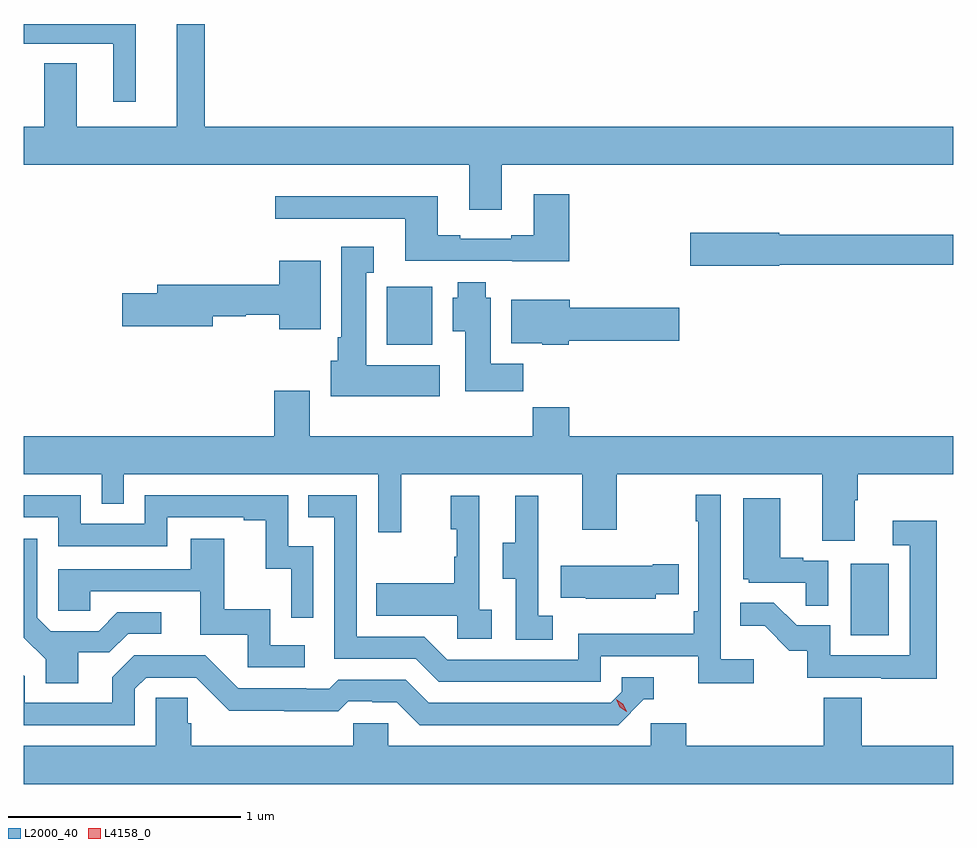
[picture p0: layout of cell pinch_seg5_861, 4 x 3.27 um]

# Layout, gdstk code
import gdstk
lib = gdstk.Library(unit=1e-6, precision=1e-09)
def R(c, l, rs):  # rectangles x0, y0, x1, y1
    for r in rs: c.add(gdstk.rectangle(r[:2], r[2:], *l))
def P(c, l, *ps):  # polygons
    for p in ps: c.add(gdstk.Polygon(p, *l))
L2000_40 = (2000, 40)
L4158_0 = (4158, 0)

pinch_seg5_861 = lib.new_cell('pinch_seg5_861')
R(pinch_seg5_861, L2000_40, [(829.808,880.044,829.972,880.351), (827.811,881.294,828.007,881.544)])
P(pinch_seg5_861, L2000_40, [(826.732,882.674),(826.249,882.674),(826.249,882.59),(826.634,882.59),(826.634,882.339),(826.732,882.339)],
  [(827.029,882.674),(826.907,882.674),(826.907,882.232),(826.477,882.232),(826.477,882.505),(826.337,882.505),(826.337,882.232),(826.249,882.232),(826.249,882.068),(828.167,882.068),(828.167,881.874),(828.307,881.874),(828.307,882.068),(830.249,882.068),(830.249,882.232),(827.029,882.232)],
  [(828.596,881.941),(828.443,881.941),(828.443,881.764),(828.347,881.764),(828.347,881.751),(828.127,881.751),(828.127,881.764),(828.031,881.764),(828.031,881.932),(827.331,881.932),(827.331,881.835),(827.891,881.835),(827.891,881.655),(828.351,881.655),(828.351,881.654),(828.596,881.654)],
  [(829.5,881.638),(830.249,881.638),(830.249,881.767),(829.5,881.767),(829.5,881.775),(829.116,881.775),(829.116,881.633),(829.5,881.633)],
  [(828.04,881.206),(827.722,881.206),(827.722,881.603),(827.755,881.603),(827.755,881.716),(827.615,881.716),(827.615,881.326),(827.6,881.326),(827.6,881.226),(827.57,881.226),(827.57,881.072),(828.04,881.072)],
  [(827.527,881.656),(827.348,881.656),(827.348,881.552),(826.823,881.552),(826.823,881.516),(826.674,881.516),(826.674,881.374),(827.062,881.374),(827.062,881.416),(827.205,881.416),(827.205,881.424),(827.348,881.424),(827.348,881.36),(827.527,881.36)],
  [(828.398,881.212),(828.259,881.212),(828.259,881.496),(828.238,881.496),(828.238,881.563),(828.116,881.563),(828.116,881.496),(828.095,881.496),(828.095,881.353),(828.149,881.353),(828.149,881.094),(828.398,881.094)],
  [(828.594,881.311),(829.069,881.311),(829.069,881.453),(828.598,881.453),(828.598,881.488),(828.347,881.488),(828.347,881.3),(828.48,881.3),(828.48,881.294),(828.594,881.294)],
  [(829.825,880.624),(829.838,880.624),(829.838,880.736),(830.249,880.736),(830.249,880.9),(828.596,880.9),(828.596,881.024),(828.439,881.024),(828.439,880.9),(827.479,880.9),(827.479,881.095),(827.327,881.095),(827.327,880.9),(826.249,880.9),(826.249,880.736),(826.584,880.736),(826.584,880.609),(826.68,880.609),(826.68,880.736),(827.775,880.736),(827.775,880.488),(827.873,880.488),(827.873,880.736),(828.653,880.736),(828.653,880.497),(828.801,880.497),(828.801,880.736),(829.685,880.736),(829.685,880.45),(829.825,880.45)],
  [(829.39,879.94),(829.248,879.94),(829.248,880.648),(829.14,880.648),(829.14,880.535),(829.152,880.535),(829.152,880.147),(829.132,880.147),(829.132,880.051),(828.636,880.051),(828.636,879.939),(828.072,879.939),(827.973,880.038),(827.682,880.038),(827.682,880.647),(827.473,880.647),(827.473,880.551),(827.586,880.551),(827.586,879.942),(827.936,879.942),(828.035,879.843),(828.732,879.843),(828.732,879.954),(829.151,879.954),(829.151,879.838),(829.39,879.838)],
  [(827.496,880.428),(827.388,880.428),(827.388,880.647),(826.77,880.647),(826.77,880.524),(826.494,880.524),(826.494,880.647),(826.249,880.647),(826.249,880.551),(826.398,880.551),(826.398,880.428),(826.866,880.428),(826.866,880.551),(827.195,880.551),(827.195,880.539),(827.291,880.539),(827.291,880.331),(827.4,880.331),(827.4,880.119),(827.496,880.119)],
  [(828.526,880.127),(828.462,880.127),(828.462,880.431),(828.464,880.431),(828.464,880.645),(828.365,880.645),(828.365,880.443),(828.311,880.443),(828.311,880.288),(828.366,880.288),(828.366,880.024),(828.526,880.024)],
  [(828.262,880.154),(828.21,880.154),(828.21,880.645),(828.086,880.645),(828.086,880.5),(828.112,880.5),(828.112,880.382),(828.102,880.382),(828.102,880.267),(827.767,880.267),(827.767,880.127),(828.114,880.127),(828.114,880.029),(828.262,880.029)],
  [(829.71,880.365),(829.604,880.365),(829.604,880.378),(829.504,880.378),(829.504,880.633),(829.346,880.633),(829.346,880.284),(829.368,880.284),(829.368,880.269),(829.615,880.269),(829.615,880.171),(829.71,880.171)],
  [(830.177,880.537),(829.989,880.537),(829.989,880.431),(830.061,880.431),(830.061,879.957),(829.719,879.957),(829.719,880.086),(829.575,880.086),(829.477,880.184),(829.333,880.184),(829.333,880.085),(829.437,880.085),(829.544,879.978),(829.621,879.978),(829.621,879.861),(829.939,879.861),(829.939,879.856),(830.177,879.856)],
  [(827.458,880.002),(827.31,880.002),(827.31,880.156),(827.111,880.156),(827.111,880.459),(826.967,880.459),(826.967,880.329),(826.398,880.329),(826.398,880.149),(826.535,880.149),(826.535,880.233),(827.009,880.233),(827.009,880.047),(827.214,880.047),(827.214,879.906),(827.458,879.906)],
  [(826.483,879.97),(826.618,879.97),(826.698,880.05),(826.84,880.05),(826.84,880.143),(826.652,880.143),(826.571,880.062),(826.365,880.062),(826.308,880.119),(826.308,880.459),(826.249,880.459),(826.249,880.034),(826.343,879.94),(826.343,879.838),(826.483,879.838)],
  [(828.969,880.22),(829.067,880.22),(829.067,880.35),(828.956,880.35),(828.956,880.342),(828.559,880.342),(828.559,880.205),(828.667,880.205),(828.667,880.202),(828.969,880.202)],
  [(826.728,879.813),(826.776,879.861),(826.992,879.861),(827.134,879.719),(827.37,879.719),(827.37,879.717),(827.603,879.717),(827.645,879.759),(827.748,879.759),(827.748,879.756),(827.855,879.756),(827.954,879.657),(828.807,879.657),(828.918,879.768),(828.961,879.768),(828.961,879.864),(828.822,879.864),(828.822,879.801),(828.774,879.753),(827.991,879.753),(827.892,879.852),(827.603,879.852),(827.564,879.813),(827.465,879.813),(827.465,879.816),(827.172,879.816),(827.031,879.957),(826.725,879.957),(826.631,879.863),(826.631,879.753),(826.254,879.753),(826.254,879.867),(826.249,879.872),(826.249,879.657),(826.728,879.657)],
  [(830.249,879.568),(829.856,879.568),(829.856,879.776),(829.691,879.776),(829.691,879.568),(829.1,879.568),(829.1,879.666),(828.948,879.666),(828.948,879.568),(827.817,879.568),(827.817,879.666),(827.667,879.666),(827.667,879.568),(826.97,879.568),(826.97,879.666),(826.955,879.666),(826.955,879.776),(826.818,879.776),(826.818,879.568),(826.249,879.568),(826.249,879.404),(830.249,879.404)])
P(pinch_seg5_861, L4158_0, [(828.844,879.714),(828.814,879.734),(828.799,879.768),(828.799,879.768),(828.799,879.768),(828.829,879.747),(828.844,879.714),(828.844,879.714)])

lib.write_gds('pinch_seg5_861.gds')
